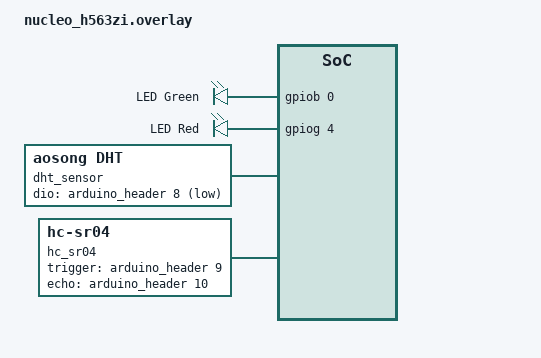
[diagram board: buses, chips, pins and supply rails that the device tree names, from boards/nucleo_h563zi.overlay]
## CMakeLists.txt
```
# SPDX-License-Identifier: Apache-2.0

cmake_minimum_required(VERSION 3.20.0)
find_package(Zephyr REQUIRED HINTS $ENV{ZEPHYR_BASE})
project(OnOffSensors)

target_sources(app PRIVATE src/main.c)
```

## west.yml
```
manifest:
  remotes:
    - name: zephyrproject-rtos
      url-base: https://github.com/zephyrproject-rtos
  projects:
    - name: zephyr
      remote: zephyrproject-rtos
      revision: v4.4.0
      import: true
  self:
    path: OnOffSensors
```

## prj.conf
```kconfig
CONFIG_GPIO=y
CONFIG_SENSOR=y
CONFIG_DHT=y
CONFIG_HC_SR04=y
CONFIG_CBPRINTF_FP_SUPPORT=y
```

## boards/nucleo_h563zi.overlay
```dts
/ {
	aliases {
		led-green = &led_green;
		led-red   = &led_red;
	};

	leds {
		compatible = "gpio-leds";
		led_green: led_1 {
			gpios = <&gpiob 0 GPIO_ACTIVE_HIGH>;
			label = "LED Green";
		};
		led_red: led_2 {
			gpios = <&gpiog 4 GPIO_ACTIVE_HIGH>;
			label = "LED Red";
		};
	};

	/* DHT11/DHT22 on D2 */
	dht_sensor: dht11 {
		compatible = "aosong,dht";
		status = "okay";
		dio-gpios = <&arduino_header 8 (GPIO_ACTIVE_LOW | GPIO_PULL_UP)>;
	};

	/* HC-SR04 on D3 and D4 */
	hc_sr04: hc-sr04 {
		compatible = "hc-sr04";
		trigger-gpios = <&arduino_header 9 GPIO_ACTIVE_HIGH>;
		echo-gpios = <&arduino_header 10 GPIO_ACTIVE_HIGH>;
		status = "okay";
	};
};
```

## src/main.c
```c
#include <zephyr/kernel.h>
#include <zephyr/drivers/gpio.h>
#include <zephyr/drivers/sensor.h>
#include <zephyr/sys/printk.h>

/* Retrieve devices */
static const struct gpio_dt_spec led_green = GPIO_DT_SPEC_GET(DT_ALIAS(led_green), gpios);
static const struct gpio_dt_spec led_red = GPIO_DT_SPEC_GET(DT_ALIAS(led_red), gpios);
static const struct device *const dht_dev = DEVICE_DT_GET(DT_NODELABEL(dht_sensor));
static const struct device *const sonic_dev = DEVICE_DT_GET(DT_NODELABEL(hc_sr04));

int main(void)
{
	struct sensor_value temp, humidity, distance;

	/* Verify devices */
	if (!gpio_is_ready_dt(&led_green) || !gpio_is_ready_dt(&led_red)) {
		printk("Error: GPIO LEDs not ready.\n");
		return -1;
	}

	if (!device_is_ready(dht_dev) || !device_is_ready(sonic_dev)) {
		printk("Error: One or both sensors not ready.\n");
		gpio_pin_set_dt(&led_red, 1);
		return -1;
	}

	/* Configure LEDs */
	gpio_pin_configure_dt(&led_green, GPIO_OUTPUT_INACTIVE);
	gpio_pin_configure_dt(&led_red, GPIO_OUTPUT_INACTIVE);

	printk("--- Weather & Radar Station Online ---\n");

	while (1) {
		int dht_ok = sensor_sample_fetch(dht_dev);
		int sonic_ok = sensor_sample_fetch(sonic_dev);

		if (dht_ok == 0 && sonic_ok == 0) {
			/* Success! Blink Green LED */
			gpio_pin_set_dt(&led_green, 1);
			gpio_pin_set_dt(&led_red, 0);

			/* Get data channels */
			sensor_channel_get(dht_dev, SENSOR_CHAN_AMBIENT_TEMP, &temp);
			sensor_channel_get(dht_dev, SENSOR_CHAN_HUMIDITY, &humidity);
			sensor_channel_get(sonic_dev, SENSOR_CHAN_DISTANCE, &distance);
			
			/* Print Dashboard */
			printk("Temp: %d.%02d C | Hum: %d.%02d %% | Dist: %d.%02d m\n", 
			       temp.val1, temp.val2 / 10000,
			       humidity.val1, humidity.val2 / 10000,
			       distance.val1, distance.val2 / 10000);
			
			/* Turn off green LED after a brief flash */
			k_msleep(100);
			gpio_pin_set_dt(&led_green, 0);
			k_msleep(1900); /* Wait the remaining time */

		} else {
			/* Error occurred! Light Red LED */
			gpio_pin_set_dt(&led_green, 0);
			gpio_pin_set_dt(&led_red, 1);
			
			printk("Error reading sensors! Retrying...\n");
			k_msleep(2000);
		}
	}

	return 0;
} 
```
